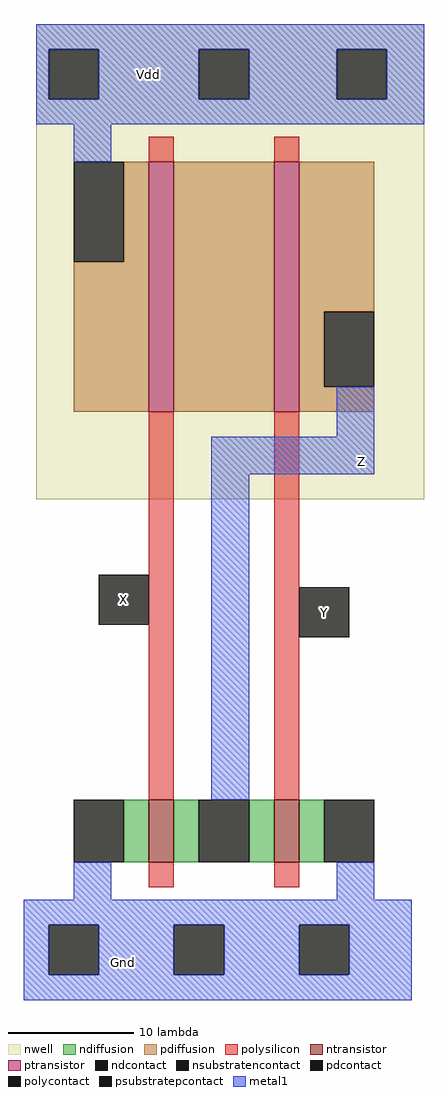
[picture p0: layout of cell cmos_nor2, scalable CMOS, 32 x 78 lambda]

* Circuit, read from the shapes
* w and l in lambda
.subckt cmos_nor2 Gnd Vdd X Y Z
M1 Z X Gnd Gnd nfet w=5 l=2
M2 Gnd Y Z Gnd nfet w=5 l=2
M3 n1 X Vdd Vdd pfet w=20 l=2
M4 Z Y n1 Vdd pfet w=20 l=2
.ends

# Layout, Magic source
magic
tech scmos
<< nwell >>
rect -15 14 16 52
<< polysilicon >>
rect -6 41 -4 43
rect 4 41 6 43
rect -6 -10 -4 21
rect 4 -10 6 21
rect -6 -17 -4 -15
rect 4 -17 6 -15
<< ndiffusion >>
rect -8 -15 -6 -10
rect -4 -15 -2 -10
rect 2 -15 4 -10
rect 6 -15 8 -10
<< pdiffusion >>
rect -8 33 -6 41
rect -12 21 -6 33
rect -4 21 4 41
rect 6 29 12 41
rect 6 23 8 29
rect 6 21 12 23
<< metal1 >>
rect -15 50 16 52
rect -15 46 -14 50
rect -10 46 -2 50
rect 2 46 9 50
rect 13 46 16 50
rect -15 44 16 46
rect -12 41 -9 44
rect 9 19 12 23
rect -1 16 12 19
rect -1 -10 2 16
rect -12 -18 -9 -15
rect 9 -18 12 -15
rect -16 -20 15 -18
rect -16 -24 -14 -20
rect -10 -24 -4 -20
rect 0 -24 6 -20
rect 10 -24 15 -20
rect -16 -26 15 -24
<< ntransistor >>
rect -6 -15 -4 -10
rect 4 -15 6 -10
<< ptransistor >>
rect -6 21 -4 41
rect 4 21 6 41
<< polycontact >>
rect -10 4 -6 8
rect 6 3 10 7
<< ndcontact >>
rect -12 -15 -8 -10
rect -2 -15 2 -10
rect 8 -15 12 -10
<< pdcontact >>
rect -12 33 -8 41
rect 8 23 12 29
<< psubstratepcontact >>
rect -14 -24 -10 -20
rect -4 -24 0 -20
rect 6 -24 10 -20
<< nsubstratencontact >>
rect -14 46 -10 50
rect -2 46 2 50
rect 9 46 13 50
<< labels >>
rlabel polycontact -8 6 -8 6 1 X
rlabel polycontact 8 5 8 5 1 Y
rlabel metal1 -8 -23 -8 -23 1 Gnd
rlabel metal1 -6 48 -6 48 5 Vdd
rlabel metal1 11 17 11 17 1 Z
<< end >>
